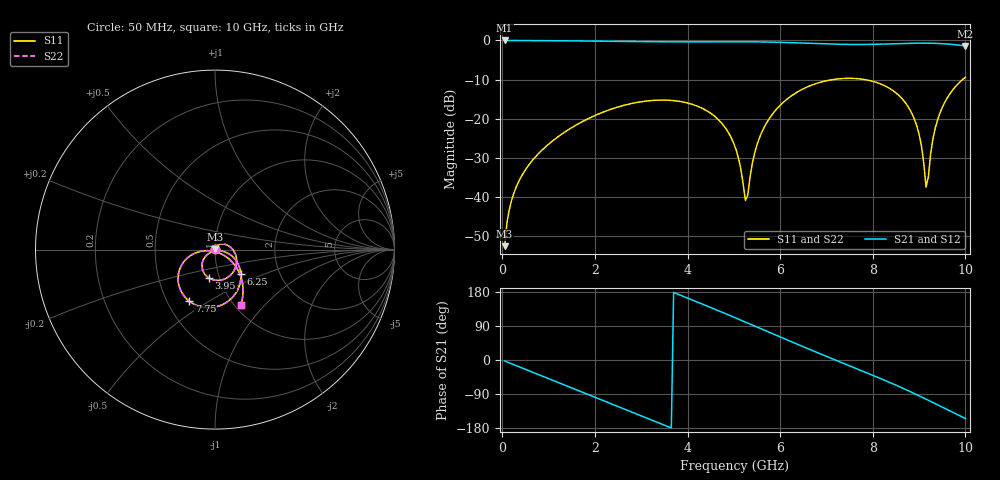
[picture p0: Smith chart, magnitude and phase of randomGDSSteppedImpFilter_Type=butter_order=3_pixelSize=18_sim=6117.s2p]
! freq	dB(S11)	phase(S11)	dB(S12)	phase(S12)
!  dB(S21)	phase(S21)	dB(S22)	phase(S22)
!S-par simulation data
#  GHz  S  DB  R 50
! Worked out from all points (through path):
!   200 points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, 50 MHz to 10 GHz, reference 50 ohm
!   highest |S21| = 0.00 dB at 50 MHz (marker M1); lowest = -1.4 dB at 10 GHz (marker M2)
!   group delay of S21, straight-line fit = 141 ps
!   lowest |S11| = -52.6 dB at 50 MHz (marker M3), VSWR 1.00, Z = 50 + j0.235 ohm
!   |S11| at or under -10 dB: start of sweep to 7.138 GHz; 7.826 GHz to 9.938 GHz (2.112 GHz wide, 23.8 % of centre)
!   |S22| runs from -52.6 to -9.4 dB; largest |S21 - S12| = 0
!   S11 on the Smith chart (normalised r, x): 50 MHz: 1.00, +0.00; 3.95 GHz: 0.89, -0.29; 6.25 GHz: 1.28, -0.36; 7.75 GHz: 0.65, -0.41; 10 GHz: 1.07, -0.74
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0.05  -52.55 84.2  -0.00 -2.5  -0.00 -2.5  -52.55 84.2
0.2  -40.86 77.1  -0.02 -9.9  -0.02 -9.9  -40.86 77.1
0.45  -33.96 66.2  -0.03 -22.2  -0.03 -22.2  -33.96 66.1
1.15  -25.07 33.7  -0.08 -56.6  -0.08 -56.6  -25.07 33.6
1.75  -20.60 4.6  -0.14 -86.1  -0.14 -86.1  -20.60 4.5
2.5  -16.99 -32.1  -0.23 -122.9  -0.23 -122.9  -16.99 -32.2
3.4  -15.24 -75.7  -0.34 -167.0  -0.34 -167.0  -15.24 -75.9
3.95  -15.84 -102.1  -0.37 165.9  -0.37 165.9  -15.84 -102.2
4.65  -20.04 -134.6  -0.35 130.9  -0.35 130.9  -20.05 -134.9
5.05  -28.00 -147.5  -0.33 110.5  -0.33 110.5  -28.03 -148.2
5.25  -40.89 -98.7  -0.34 100.1  -0.34 100.1  -41.28 -99.5
5.6  -23.54 -14.6  -0.38 81.8  -0.38 81.8  -23.54 -14.3
6.25  -14.09 -43.3  -0.58 47.8  -0.58 47.8  -14.09 -43.3
6.7  -11.33 -65.5  -0.77 24.7  -0.77 24.7  -11.33 -65.4
7.75  -9.87 -116.4  -1.03 -27.6  -1.03 -27.6  -9.87 -116.5
8.35  -12.16 -145.8  -0.89 -58.3  -0.89 -58.3  -12.16 -145.9
8.9  -20.15 -171.6  -0.71 -88.6  -0.71 -88.6  -20.15 -171.9
9.05  -26.85 -172.3  -0.69 -97.4  -0.69 -97.4  -26.87 -172.9
9.15  -37.46 -126.7  -0.69 -103.3  -0.69 -103.3  -37.69 -127.5
9.3  -25.07 -33.0  -0.72 -112.2  -0.72 -112.2  -25.09 -32.6
9.45  -18.57 -35.8  -0.79 -121.3  -0.79 -121.3  -18.58 -35.6
10  -9.39 -64.8  -1.40 -154.3  -1.40 -154.3  -9.39 -64.7
